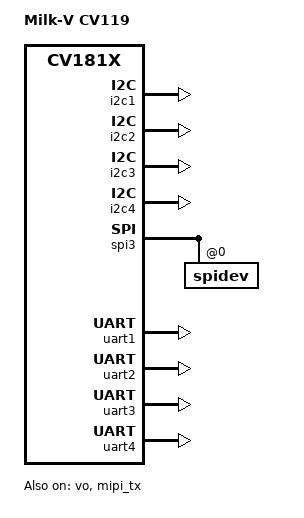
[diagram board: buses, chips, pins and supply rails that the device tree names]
/dts-v1/;
#include "cv181x_base_arm.dtsi"
#include "cv181x_asic_bga.dtsi"
#include "cv181x_asic_sd.dtsi"
#include "cv181x_default_memmap.dtsi"

/ {
	model = "Milk-V CV119";

	sd:cv-sd@4310000 {
		max-frequency = <10000000>;
	};
};

&mipi_rx {
	snsr-reset = <&porta 2 GPIO_ACTIVE_LOW>, <&porta 2 GPIO_ACTIVE_LOW>, <&porta 2 GPIO_ACTIVE_LOW>;
};

&i2c0 {
	status = "disabled";
};

&i2c1 {
	status = "okay";
};

&i2c2 {
	status = "okay";
};

&i2c3 {
	status = "okay";
};

&i2c4 {
	status = "okay";
};

&spi3 {
	status = "okay";

	spidev@0 {
		status = "okay";
	};
};

&dac {
	/delete-property/ mute-gpio-l;
	/delete-property/ mute-gpio-r;
};

/* mipi dsi for u-boot */
&vo {
	compatible = "cvitek,vo";
	reset-gpio = <&porte 2 GPIO_ACTIVE_LOW>;
	pwm-gpio = <&porte 0 GPIO_ACTIVE_LOW>;
	power-ct-gpio = <&porte 1 GPIO_ACTIVE_HIGH>;
	status = "okay";
};

/* mipi dsi for kernel */
&mipi_tx {
	compatible = "cvitek,mipi_tx";
	reset-gpio = <&porte 2 GPIO_ACTIVE_LOW>;
	pwm-gpio = <&porte 0 GPIO_ACTIVE_LOW>;
	power-ct-gpio = <&porte 1 GPIO_ACTIVE_HIGH>;
	status = "okay";
};

&usb {
	vbus-gpio = <&portb 6 0>;
};

&uart1 {
	status = "okay";
};

&uart2 {
	status = "okay";
};

&uart3 {
	status = "okay";
};

&uart4 {
	status = "okay";
};
